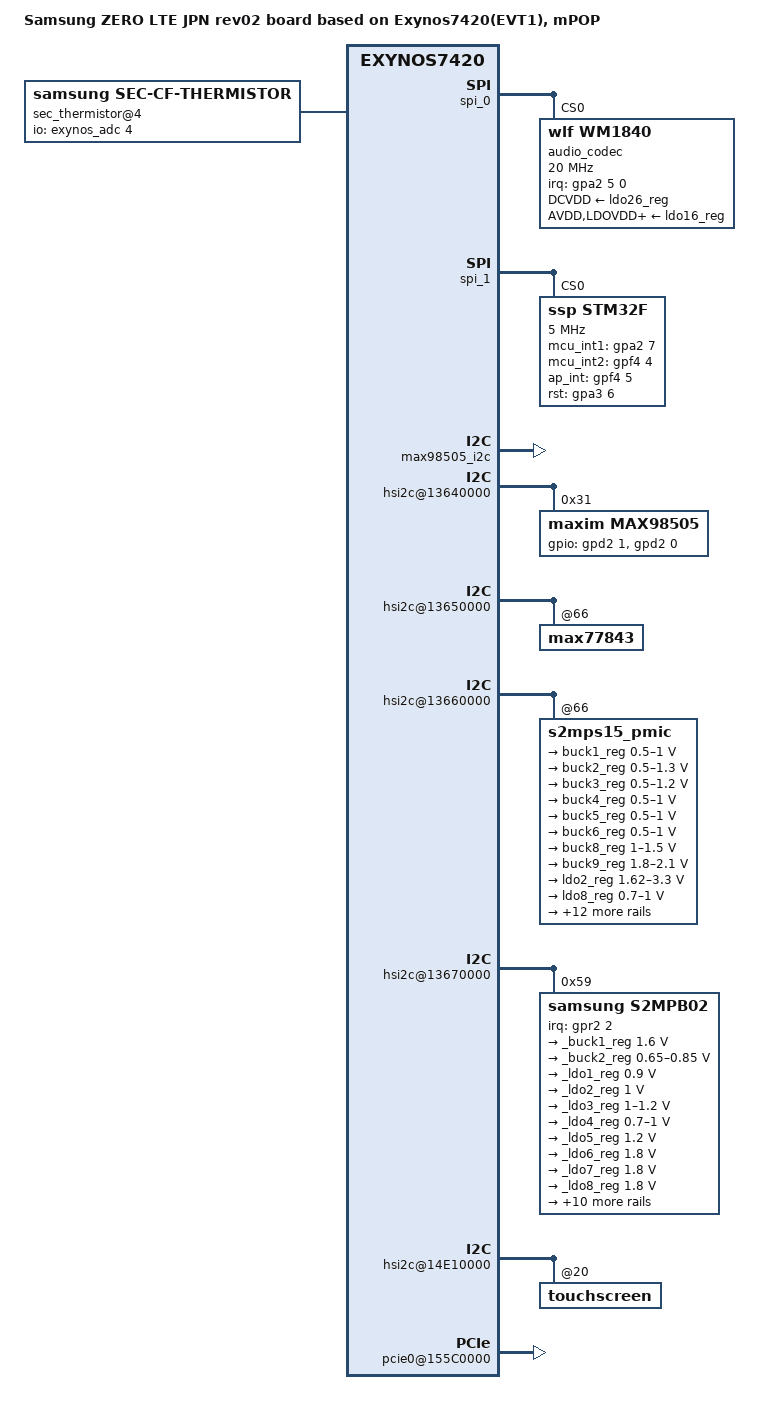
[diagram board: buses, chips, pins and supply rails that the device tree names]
/*
 * SAMSUNG UNIVERSAL7420 board device tree source
 *
 * Copyright (c) 2014 Samsung Electronics Co., Ltd.
 *		http://www.samsung.com
 *
 * This program is free software; you can redistribute it and/or modify
 * it under the terms of the GNU General Public License version 2 as
 * published by the Free Software Foundation.
*/

/dts-v1/;
#include "exynos7420-zero_common.dtsi"
#include "exynos7420-zerolte_jpn_battery_02.dtsi"
#include "exynos7420-zerolte_gpio_jpn_03.dtsi"
#include "exynos7420-zerolte_modem-mdm9x35.dtsi"
#include "exynos7420-zerolte_fingerprint-sensor_00.dtsi"
#include "exynos7420-zerolte_mst.dtsi"
/ {
	model = "Samsung ZERO LTE JPN rev02 board based on Exynos7420(EVT1), mPOP";
	model_info-chip = <7420>;
	model_info-platform = "android";
	model_info-subtype = "samsung";
	model_info-hw_rev = <9>;
	model_info-hw_rev_end = <11>;
	compatible = "samsung,ZERO LTE JPN EVT1 mPOP,r02", "samsung,exynos7420";

	spi_0: spi@14d20000 {
		/delete-property/ dma-mode;
		/delete-property/ dmas;
		/delete-property/ dma-names;

		num-cs = <1>;
		status = "okay";

		audio_codec: wm1840@0 {
			compatible = "wlf,wm1840";
			reg = <0x0>;
			spi-max-frequency = <20000000>;
			interrupts = <5 0 0>;
			interrupt-parent = <&gpa2>;

			gpio-controller;
			#gpio-cells = <2>;

			pinctrl-names ="default";
			pinctrl-0 = <&codec_reset &codec_irq>;

			wlf,reset = <&gpf4 0 0>;
			wlf,init-mic-delay = <30>;
			wlf,use-jd-gpio;
			wlf,micd-clamp-mode = <0x8>;
			wlf,micd-detect-debounce = <300>;
			wlf,micd-pol-gpio = <0>;
			wlf,micd-bias-start-time = <0x1>;
			wlf,micd-rate = <0x7>;
			wlf,micd-dbtime = <0x1>;
			wlf,micd-timeout = <1000>;
			wlf,micd-force-micbias;
			wlf,hpdet-moisture-imp = <2000>;
			wlf,hpdet-moisture-debounce = <40>;
			wlf,hpdet-channel = <1>;
			wlf,hpdet-ext-res = <33>;
			wlf,hpdet-short-circuit-imp = <3>;
			wlf,micd-ranges = <
				116 226
				173 582
				321 115
				752 114
				1257 217
			>;
			wlf,hs-mic = <3>;
			wlf,micd-configs = <
				0x0 2 0
			>;

			wlf,micbias1 = <1800 0 1 0 0>;
			wlf,micbias2 = <2800 0 1 0 0>;
			wlf,micbias3 = <1800 0 1 0 0>;
			wlf,micbias4 = <1800 0 1 0 0>;

			wlf,gpio-defaults = <
				0xffffffff 0xffffffff /* GPIO1 */
				0xffffffff 0xffffffff /* GPIO2 */
				0xffffffff 0xffffffff /* GPIO3 */
				0xffffffff 0xffffffff /* GPIO4 */
				0xffffffff 0xffffffff /* GPIO5 */
				0xffffffff 0xffffffff /* GPIO6 */
				0xffffffff 0xffffffff /* GPIO7 */
				0xffffffff 0xffffffff /* GPIO8 */
				0xffffffff 0xffffffff /* MIF1SCLK / GPIO9 */
				0xffffffff 0xffffffff /* MIF1SDA / GPIO10 */
				0xffffffff 0xffffffff /* MIF2SCLK / GPIO11 */
				0xffffffff 0xffffffff /* MIF2SDA / GPIO12 */
				0xffffffff 0xffffffff /* MIF3SCLK / GPIO13 */
				0xffffffff 0xffffffff /* MIF3SDA / GPIO14 */
				0x00002000 0x00006000 /* AIF1TXDAT / GPIO15 */
				0x00002000 0x00006000 /* AIF1BCLK / GPIO16 */
				0x00002000 0x00006000 /* AIF1RXDAT / GPIO17 */
				0x00002000 0x00006000 /* AIF1LRCLK / GPIO18 */
				0x00002000 0x00006000 /* AIF2TXDAT / GPIO19 */
				0x00002000 0x00006000 /* AIF2BCLK / GPIO20 */
				0x00002000 0x00006000 /* AIF2RXDAT / GPIO21 */
				0x00002000 0x00006000 /* AIF2LRCLK / GPIO22 */
				0x00002000 0x00006000 /* AIF3TXDAT / GPIO23 */
				0x00002000 0x00006000 /* AIF3BCLK / GPIO24 */
				0x00002000 0x00006000 /* AIF3RXDAT / GPIO25 */
				0x00002000 0x00006000 /* AIF3LRCLK / GPIO26 */
				0x00002000 0x00006000 /* AIF4TXDAT / GPIO27 */
				0x00002000 0x00006000 /* AIF4BCLK / GPIO28 */
				0x00002000 0x00006000 /* AIF4RXDAT / GPIO29 */
				0x00002000 0x00006000 /* AIF4LRCLK / GPIO30 */
				0x00002000 0x0000e000 /* DMICCLK4 / GPIO31 */
				0x00002000 0x0000e000 /* DMICDAT4 / GPIO32 */
				0xffffffff 0xffffffff /* DMICCLK5 / GPIO33 */
				0xffffffff 0xffffffff /* DMICDAT5 / GPIO34 */
				0xffffffff 0xffffffff /* DMICCLK6 / GPIO35 */
				0xffffffff 0xffffffff /* DMICDAT6 / GPIO36 */
				0xffffffff 0xffffffff /* SPKCLK1 / GPIO37 */
				0xffffffff 0xffffffff /* SPKCLK2 / GPIO38 */
				0xffffffff 0xffffffff /* SPKDAT1 / GPIO39 */
				0xffffffff 0xffffffff /* SPKDAT2 / GPIO40 */
			>;

			wlf,gpsw = <0x3>;
			wlf,micd-software-compare;
			wlf,antenna-supported;
			wlf,antenna-manual-db-plugout = <1>;
			wlf,antenna-hp-imp-range-lo = <5>;
			wlf,antenna-hp-imp-range-hi = <5>;
			wlf,micd-open-circuit-declare = <1>;
			wlf,jd-wake-time = <5000>;

			wlf,max-channels-clocked = <2 0 0 0>;
			/* 0:MICVDD 1:MICBIAS1 2:MICBIAS2 3:MICBIAS3 */
			wlf,dmic-ref = <1 2 1 0 0 0>;
			/* 1st cell:IN1L 2rd cell:IN1R 3nd cell:IN2L 4th cell:IN2R... 12th cell:IN6R */
			wlf,inmode = <2 2 0 0 2 2 2 2 0 0 0 0>;
			/* 1st cell:OUT1 2nd cell:OUT2 3rd cell:OUT3... 6th cell:OUT6 */
			wlf,out-mono = <0 1 1 0 0 0>;

			wlf,rev-specific-fw;

			DCVDD-supply = <&ldo26_reg>;
			AVDD-supply = <&ldo16_reg>;
			LDOVDD-supply = <&ldo16_reg>;
			DBVDD1-supply = <&ldo16_reg>;

			CPVDD-supply = <&ldo16_reg>;
			DBVDD2-supply = <&ldo16_reg>;
			DBVDD3-supply = <&ldo16_reg>;
			DBVDD4-supply = <&ldo16_reg>;
			SPKVDDL-supply = <&ldo16_reg>;
			SPKVDDR-supply = <&ldo16_reg>;

			adsps {
				#address-cells = <1>;
				#size-cells = <0>;

				adsp@0FFE00 {
					reg = <0x0FFE00>;
					firmware {
						TRACE {
							wlf,wmfw-file = "trace";
							wlf,bin-file = "None";
							wlf,compr-caps = <1 8 0x4 1 8000 16000 24000>;
						};
					};
				};
				adsp@17FE00 {
					reg = <0x17FE00>;
					firmware {
						TX_NB {
							wlf,wmfw-file = "tx-nb";
							wlf,bin-file = "None";
						};
						TX_WB {
							wlf,wmfw-file = "tx-wb";
							wlf,bin-file = "None";
						};
						TX_SWB_INTERVIEW {
							wlf,wmfw-file = "tx-swb";
							wlf,bin-file = "None";
						};
						TX_SWB_CONVERSATION {
							wlf,wmfw-file = "tx-swb";
							wlf,bin-file = "None";
						};
						TX_FB_MEETING {
							wlf,wmfw-file = "tx-fb-meeting";
							wlf,bin-file = "tx-fb-meeting";
						};
					};
				};
				adsp@1FFE00 {
					reg = <0x1FFE00>;
					firmware {
						TX_NB {
							wlf,wmfw-file = "tx-nb";
							wlf,bin-file = "tx-nb";
						};
						TX_WB {
							wlf,wmfw-file = "tx-wb";
							wlf,bin-file = "tx-wb";
						};
						TX_SWB_INTERVIEW {
							wlf,wmfw-file = "tx-swb";
							wlf,bin-file = "tx-swb-interview";
						};
						TX_SWB_CONVERSATION {
							wlf,wmfw-file = "tx-swb";
							wlf,bin-file = "tx-swb-conversation";
						};
						TX_WB_MEETING {
							wlf,wmfw-file = "tx-wb-meeting";
							wlf,bin-file = "tx-wb-meeting";
						};
					};
				};
				adsp@27FE00 {
					reg = <0x27FE00>;
					firmware {
						RX_NB {
							wlf,wmfw-file = "rx-anc-nb";
							wlf,bin-file = "rx-anc-nb";
						};
						RX_WB {
							wlf,wmfw-file = "rx-anc-wb";
							wlf,bin-file = "rx-anc-wb";
						};
					};
				};
				adsp@37FE00 {
					reg = <0x37FE00>;
					firmware {
						VOICECONTROL {
							wlf,wmfw-file = "ez2-control";
							wlf,bin-file = "ez2-control";
							wlf,compr-caps = <1 1 0x4 1 16000>;
						};
						LPSD {
							wlf,wmfw-file = "ez2-control";
							wlf,bin-file = "lpsd-control";
						};
					};
				};
				adsp@2FFE00 {
					reg = <0x2FFE00>;
					firmware {
						DSM {
							wlf,wmfw-file = "dsm";
							wlf,bin-file = "None";
						};
					};
				};
			};
			controller-data {
				cs-gpio = <&gpd8 1 0>;
				samsung,spi-feedback-delay = <0>;
			};
		};
	};

	spi_1: spi@14d30000 {
		#address-cells = <1>;
		#size-cells = <0>;

		pinctrl-names = "default";
		pinctrl-0 = <&spi1_mosi_sck_ssn &spi1_miso>;

		num-cs = <1>;
		status = "okay";

		STM32F@0 {
			compatible = "ssp,STM32F";
			reg = <0>;
			spi-max-frequency = <5000000>;
			spi-cpol;
			spi-cpha;
			pinctrl-names = "default";
			pinctrl-0 = <&ssp_rst &ssp_ap_int &ssp_mcu_int1 &ssp_mcu_int2>;

			gpio-controller;
			#gpio-cells = <2>;
			ssp,mcu_int1-gpio = <&gpa2 7 0x00>;
			ssp,mcu_int2-gpio = <&gpf4 4 0x00>;
			ssp,ap_int-gpio = <&gpf4 5 0x00>;
			ssp,rst-gpio = <&gpa3 6 0x00>;
			ssp,acc-position = <0>;
			ssp,mag-position = <6>;
			ssp,prox-hi_thresh = <2000>;
			ssp,prox-low_thresh = <1400>;
			ssp-glass-type = <1>;
			ssp,mag-array = /bits/ 8 <139 85 83 13 4 173 0 132 209 55
						203 107 85 107 2 223 252 232 47 168
						189 1 231 61 12 66 205>;

			controller-data {
				cs-gpio = <&gpd6 3 0>;
				samsung,spi-feedback-delay = <0>;
			};
		};
	};

	audio_pdata {
		compatible = "samsung,audio-pdata";

		seamless_voicewakeup;
		status = "okay";
	};

	pinctrl@10580000 {
		codec_irq: codec-irq {
			samsung,pins = "gpa2-5";
			samsung,pin-function = <0xf>;
			samsung,pin-pud = <0>;
		};
		max98505_ctrl: max98505-ctl {
			samsung,pins ="gpa2-0";
			samsung,pin-function = <0>;
			samsung,pin-pud = <0>;
			samsung,pin-con-pdn =<2>;
			samsung,pin-pud-pdn = <0>;
		};
		ssp_mcu_int1: ssp-mcu-int1 {
			samsung,pins = "gpa2-7";
			samsung,pin-function = <0>;
			samsung,pin-pud = <0>;
			samsung,pin-drv = <0>;
		};
		ssp_rst: ssp-rst {
			samsung,pins = "gpa3-6";
			samsung,pin-function = <0xf>;
			samsung,pin-pud = <3>;
			samsung,pin-drv = <3>;
		};
	};

	pinctrl@13470000 {
		max98505_i2c: max98505-i2c {
			samsung,pins = "gpd2-0", "gpd2-1";
			samsung,pin-pud = <0>;
			status = "okay";
		};
	};

	pinctrl@14870000 {
		codec_reset: codec-reset {
			samsung,pins ="gpf4-0";
			samsung,pin-function = <1>;
			samsung,pin-pud = <1>;
			samsung,pin-con-pdn =<3>;
			samsung,pin-pud-pdn = <1>;
			samsung,pin-val = <0>;
		};
		ssp_mcu_int2: ssp-mcu-int2 {
			samsung,pins = "gpf4-4";
			samsung,pin-function = <0>;
			samsung,pin-pud = <0>;
			samsung,pin-drv = <0>;
		};
		ssp_ap_int: ssp-ap-int {
			samsung,pins = "gpf4-5";
			samsung,pin-function = <0xf>;
			samsung,pin-pud = <3>;
			samsung,pin-drv = <3>;
		};
	};

	pinctrl@15690000 {
		sub_pmic_irq: sub-pmic-irq {
			samsung,pins ="gpr2-2";
			samsung,pin-function = <0>;
			samsung,pin-pud = <0>;
			samsung,pin-drv = <0>;
		};
	};

	hsi2c@13640000 {
		status = "okay";
		max98505@31 {
			compatible = "maxim,max98505";
			reg = <0x31>;
			pinctrl-names = "default";
			pinctrl-0 = <&max98505_i2c &max98505_ctrl>;
			gpios = <&gpd2 1 0
				&gpd2 0 0
				>;
			i2c-gpio,delay-us = <2>;
			maxim,platform_type = <0>;
			maxim,spk_vol = <0x14>;
			maxim,sysclk = <12288000>;
		};
	};

	hsi2c@13650000{
		max77843@66 {
			status = "okay";
		};
	};

	hsi2c@13660000 {
		s2mps15_pmic@66 {
			regulators {
				buck1_reg: BUCK1 {
					regulator-name = "vdd_mif";
					regulator-min-microvolt = <500000>;
					regulator-max-microvolt = <1000000>;
					regulator-always-on;
					regulator-boot-on;
					regulator-ramp-delay = <12000>;
					regulator-initial-mode = <1>;
				};

				buck2_reg: BUCK2 {
					regulator-name = "vdd_atlas";
					regulator-min-microvolt = <500000>;
					regulator-max-microvolt = <1300000>;
					regulator-always-on;
					regulator-boot-on;
					regulator-ramp-delay = <12000>;
					regulator-initial-mode = <1>;
				};

				buck3_reg: BUCK3 {
					regulator-name = "vdd_apollo";
					regulator-min-microvolt = <500000>;
					regulator-max-microvolt = <1200000>;
					regulator-always-on;
					regulator-boot-on;
					regulator-ramp-delay = <12000>;
					regulator-initial-mode = <1>;
				};

				buck4_reg: BUCK4 {
					regulator-name = "vdd_int";
					regulator-min-microvolt = <500000>;
					regulator-max-microvolt = <1000000>;
					regulator-always-on;
					regulator-boot-on;
					regulator-ramp-delay = <12000>;
					regulator-initial-mode = <1>;
				};

				buck5_reg: BUCK5 {
					regulator-name = "vdd_disp_cam0";
					regulator-min-microvolt = <500000>;
					regulator-max-microvolt = <1000000>;
					regulator-always-on;
					regulator-boot-on;
					regulator-ramp-delay = <12000>;
					regulator-initial-mode = <1>;
				};

				buck6_reg: BUCK6 {
					regulator-name = "vdd_g3d";
					regulator-min-microvolt = <500000>;
					regulator-max-microvolt = <1000000>;
					regulator-always-on;
					regulator-boot-on;
					regulator-ramp-delay = <12000>;
					regulator-initial-mode = <1>;
				};

				buck8_reg: BUCK8 {
					regulator-name = "vdd_lldo";
					regulator-min-microvolt = <1000000>;
					regulator-max-microvolt = <1500000>;
					regulator-always-on;
					regulator-ramp-delay = <12000>;
					regulator-initial-mode = <3>;
				};

				buck9_reg: BUCK9 {
					regulator-name = "vdd_mldo";
					regulator-min-microvolt = <1800000>;
					regulator-max-microvolt = <2100000>;
					regulator-always-on;
					regulator-ramp-delay = <12000>;
					regulator-initial-mode = <3>;
				};

				ldo2_reg: LDO2 {
					regulator-name = "vqmmc";
					regulator-min-microvolt = <1620000>;
					regulator-max-microvolt = <3300000>;
					regulator-ramp-delay = <12000>;
					regulator-initial-mode = <1>;
					regulator-boot-on;
				};

				ldo8_reg: LDO8 {
					regulator-name = "vdd_ldo8";
					regulator-min-microvolt = <700000>;
					regulator-max-microvolt = <1000000>;
					regulator-always-on;
					regulator-initial-mode = <1>;
				};

				ldo15_reg: LDO15 {
					regulator-name = "tsp_io";
					regulator-min-microvolt = <1850000>;
					regulator-max-microvolt = <1850000>;
				};

				ldo16_reg: LDO16 {
					regulator-name = "VCC_1.8V_CODEC_PMIC";
					regulator-min-microvolt = <1800000>;
					regulator-max-microvolt = <1800000>;
				};

				ldo17_reg: LDO17 {
					regulator-name = "VCC_MOTOR_3.0";
					regulator-min-microvolt = <3000000>;
					regulator-max-microvolt = <3000000>;
				};

				ldo18_reg: LDO18 {
					regulator-name = "HRM_VDD_1.8V";
					regulator-min-microvolt = <1800000>;
					regulator-max-microvolt = <1850000>;
				};

				ldo19_reg: LDO19 {
					regulator-name = "MST_LEVEL_3.0V";
					regulator-min-microvolt = <3000000>;
					regulator-max-microvolt = <3000000>;
				};

				ldo20_reg: LDO20 {
					regulator-name = "VDD20_1P8_AP";
					regulator-min-microvolt = <1800000>;
					regulator-max-microvolt = <1800000>;
				};

				ldo21_reg: LDO21 {
					regulator-name = "key_led";
					regulator-min-microvolt = <3300000>;
					regulator-max-microvolt = <3300000>;
				};

				ldo22_reg: LDO22 {
					regulator-name = "VDD22_1P2_AP";
					regulator-min-microvolt = <1200000>;
					regulator-max-microvolt = <1200000>;
				};

				ldo23_reg: LDO23 {
					regulator-name = "VDD_1.8V_ESE";
					regulator-min-microvolt = <1800000>;
					regulator-max-microvolt = <1800000>;
				};

				ldo24_reg: LDO24 {
					regulator-name = "V_HRM_3.3V";
					regulator-min-microvolt = <3300000>;
					regulator-max-microvolt = <3350000>;
				};

				ldo25_reg: LDO25 {
					regulator-name = "PROX_LED_3.3V";
					regulator-min-microvolt = <3300000>;
					regulator-max-microvolt = <3300000>;
				};

				ldo26_reg: LDO26 {
					regulator-name = "VDD_1.2V_CODEC";
					regulator-min-microvolt = <1200000>;
					regulator-max-microvolt = <1200000>;
				};
			};
		};
	};

	hsi2c@13670000 {
		max77838@60 {
			status = "disabled";
		};

		s2mpb02@59 {
			compatible = "samsung,s2mpb02";
			reg = <0x59>;

			s2mpb02,irq-gpio = <&gpr2 2 0>;
			pinctrl-names = "default";
			pinctrl-0 = <&sub_pmic_irq>;

			regulators {
				_buck1_reg: s2mpb02-buck1 {
					regulator-name = "VDD_1P6_DDR";
					regulator-min-microvolt = <1600000>;
					regulator-max-microvolt = <1600000>;
				};

				_buck2_reg: s2mpb02-buck2 {
					regulator-name = "VDDD_CORE_0.8V_COMP";
					regulator-min-microvolt = <650000>;
					regulator-max-microvolt = <850000>;
				};

				_ldo1_reg: s2mpb02-ldo1 {
					regulator-name = "VDDD_NORET_0.9V_COMP";
					regulator-min-microvolt = <900000>;
					regulator-max-microvolt = <900000>;
				};

				_ldo2_reg: s2mpb02-ldo2 {
					regulator-name = "VDDD_CORE_1.0V_COMP";
					regulator-min-microvolt = <1000000>;
					regulator-max-microvolt = <1000000>;
				};

				_ldo3_reg: s2mpb02-ldo3 {
					regulator-name = "VDDD_1.2V_CAM";
					regulator-min-microvolt = <1000000>;
					regulator-max-microvolt = <1200000>;
				};

				_ldo4_reg: s2mpb02-ldo4 {
					regulator-name = "VDDD_RET_1.0V_COMP";
					regulator-min-microvolt = <700000>;
					regulator-max-microvolt = <1000000>;
				};

				_ldo5_reg: s2mpb02-ldo5 {
					regulator-name = "VDDD_1.2V_VT";
					regulator-min-microvolt = <1200000>;
					regulator-max-microvolt = <1200000>;
				};

				_ldo6_reg: s2mpb02-ldo6 {
					regulator-name = "VDDIO_1.8V_VT";
					regulator-min-microvolt = <1800000>;
					regulator-max-microvolt = <1800000>;
				};

				_ldo7_reg: s2mpb02-ldo7 {
					regulator-name = "VDDIO_1.8V_CAM";
					regulator-min-microvolt = <1800000>;
					regulator-max-microvolt = <1800000>;
				};

				_ldo8_reg: s2mpb02-ldo8 {
					regulator-name = "VDDIO_1.8V_COMP";
					regulator-min-microvolt = <1800000>;
					regulator-max-microvolt = <1800000>;
				};

				_ldo9_reg: s2mpb02-ldo9 {
					regulator-name = "VDDA_1.8V_COMP";
					regulator-min-microvolt = <1800000>;
					regulator-max-microvolt = <1800000>;
				};

				_ldo10_reg: s2mpb02-ldo10 {
					regulator-name = "VCC_DISPLAY_1.8V";
					regulator-min-microvolt = <1800000>;
					regulator-max-microvolt = <1800000>;
				};

				_ldo11_reg: s2mpb02-ldo11 {
					regulator-name = "VDDA_2.9V_CAM";
					regulator-min-microvolt = <2800000>;
					regulator-max-microvolt = <2950000>;
				};

				_ldo12_reg: s2mpb02-ldo12 {
					regulator-name = "VDDAF_2.8V_CAM";
					regulator-min-microvolt = <2800000>;
					regulator-max-microvolt = <2800000>;
				};

				_ldo13_reg: s2mpb02-ldo13 {
					regulator-name = "VDDA_2.9V_VT";
					regulator-min-microvolt = <2900000>;
					regulator-max-microvolt = <2900000>;
				};

				_ldo14_reg: s2mpb02-ldo14 {
					regulator-name = "OIS_VM_2.8V";
					regulator-min-microvolt = <2800000>;
					regulator-max-microvolt = <2800000>;
				};

				_ldo15_reg: s2mpb02-ldo15 {
					regulator-name = "OIS_VDD_2.8V";
					regulator-min-microvolt = <2800000>;
					regulator-max-microvolt = <2800000>;
				};

				_ldo16_reg: s2mpb02-ldo16 {
					regulator-name = "VCC_3.0V_LCD";
					regulator-min-microvolt = <3000000>;
					regulator-max-microvolt = <3000000>;
				};

				_ldo17_reg: s2mpb02-ldo17 {
					regulator-name = "tsp_avdd";
					regulator-min-microvolt = <3300000>;
					regulator-max-microvolt = <3300000>;
				};
				_ldo18_reg: s2mpb02-ldo18 {
					regulator-name = "vdd_tx_2p8";
                                        regulator-min-microvolt = <3400000>;
                                        regulator-max-microvolt = <3400000>;
				};
			};

			torch {
				status = "okay";
				leds1 {
					ledname = "leds-sec1";
					/* S2MPB02_FLASH_LED_1 */
					id = <0>;
					/* S2MPB02_FLASH_CURRENT */
					brightness = <0xF>;
					/* S2MPB02_FLASH_TIMEOUT */
					timeout = <0x3>;
				};

				leds2 {
					ledname = "torch-sec1";
					/* S2MPB02_TORCH_LED_1 */
					id = <1>;
					/* S2MPB02_TORCH_CURRENT */
					brightness = <0x9>;
					/* S2MPB02_TORCH_TIMEOUT */
					timeout = <0xF>;
				};
			};
		};
	};

	hsi2c@14E60000 {
		status = "disabled";
		/delete-node/	s2mpb01_pmic@59;
	};

	sec_thermistor@0 {
		status = "okay";

		adc_array = <202 212 223 234 244 255 265 276 287 297
			307 317 327 337 348 359 369 380 390 400
			410 425 440 455 470 486 501 517 532 547
			562 575 588 600 613 625 645 665 686 707
			728 749 770 790 811 832 855 878 902 925
			948 964 980 996 1012 1028 1044 1060 1076 1092
			1108 1134 1160 1186 1212 1237 1261 1286 1310 1335
			1359 1378 1396 1414 1433 1452 1471 1489 1507 1525
			1543 1560 1576 1593 1610 1626 1642 1658 1674 1690
			1706 1717 1729 1742 1755 1768 1782 1796 1810 1824
			1838 1847 1855 1864 1873 1882 1888 1894 1900 1906
			1912>;
	};

	sec_thermistor@4 {
		compatible = "samsung,sec-cf-thermistor";
		status = "okay";

		adc_array = <215 224 234 243 253 262 271 281 290 300
			309 322 335 348 361 374 389 404 418 433
			448 465 482 499 516 533 553 573 594 614
			634 658 682 705 729 753 780 807 833 860
			887 918 948 979 1009 1040 1076 1112 1147 1183
			1219 1257 1295 1332 1370 1408 1448 1489 1529 1570
			1610 1653 1696 1739 1782 1825 1869 1913 1957 2001
			2045 2090 2134 2179 2223 2268 2310 2352 2395 2437
			2479 2520 2561 2601 2642 2683 2720 2757 2793 2830
			2867 2903 2939 2975 3011 3047 3077 3106 3136 3165
			3195 3221 3247 3274 3300 3326 3348 3370 3392 3414
			3436>;
		temp_array = <900 890 880 870 860 850 840 830 820 810
			800 790 780 770 760 750 740 730 720 710
			700 690 680 670 660 650 640 630 620 610
			600 590 580 570 560 550 540 530 520 510
			500 490 480 470 460 450 440 430 420 410
			400 390 380 370 360 350 340 330 320 310
			300 290 280 270 260 250 240 230 220 210
			200 190 180 170 160 150 140 130 120 110
			100 90 80 70 60 50 40 30 20 10
			0 (-10) (-20) (-30) (-40) (-50) (-60) (-70) (-80) (-90)
			(-100)(-110)(-120)(-130)(-140)(-150)(-160)(-170)(-180)(-190)
			(-200)>;

		io-channels = <&exynos_adc 4>;
		io-channel-names = "adc-cf-temp";
		io-channel-ranges;
	};

	hsi2c@14E10000 {
		touchscreen@20 {
			stm,num_touchkey = <2>;
			stm,regulator_tk_led = "key_led";
		};
	};

	pcie0@155C0000 {
		status = "okay";
	};


	dwmmc0@15740000 {
		status = "disabled";
	};

	dwmmc2@15560000 {
		vdd_vmmc-supply = <&ldo25_reg>;
		vqmmc-supply = <&ldo2_reg>;
	};

	dsim_0: dsim@0x13900000 {
		gpios = <&gpr3 0 0x1>;
		regulator_30V = "VCC_3.0V_LCD";
		regulator_18V = "VCC_DISPLAY_1.8V";
		regulator_16V = "VDD_1P6_DDR";
		lcd_info = <&s6e3hf2_wqhd>;
	};

	s6e3hf2_wqhd: s6e3hf2_wqhd_panel {
		mode = <2>;
		resolution = <1440 2560>;
		size = <63 112>;
		timing,refresh = <60>;
		timing,h-porch = <1 1 1>;
		timing,v-porch = <15 1 1>;
		timing,dsi-hs-clk = <1026>;
		timing,dsi-escape-clk = <16>;
		mic = <1>;
		mic_ver = <2>;
		type_of_ddi = <0>;
	};
};
